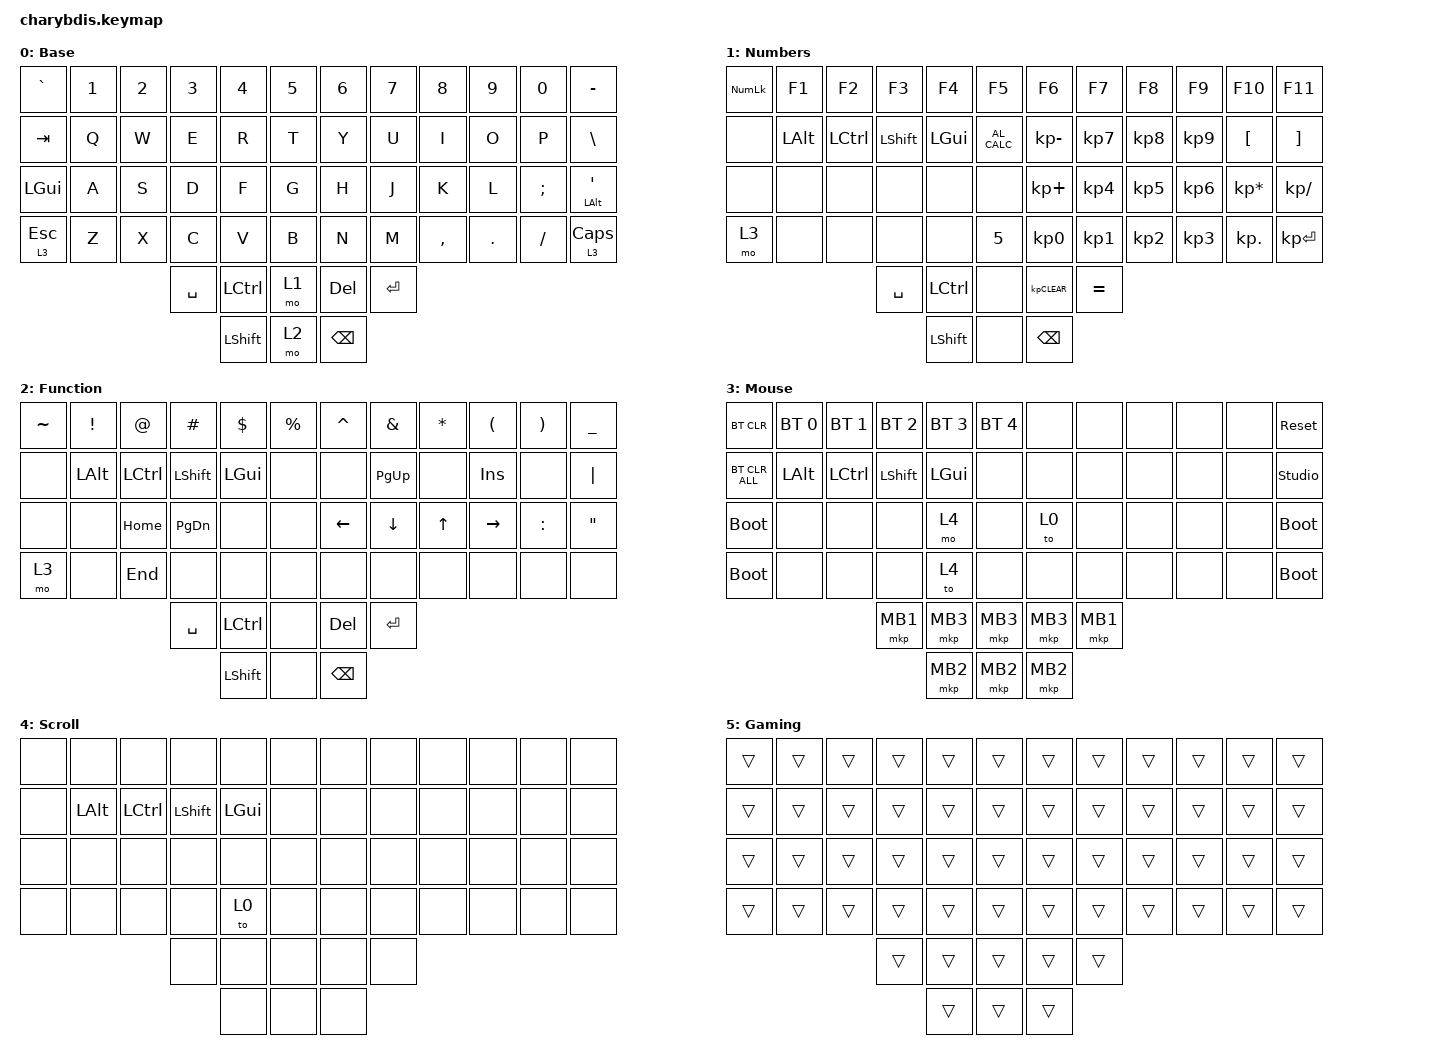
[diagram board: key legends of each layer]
/* upstream bindings and behaviors */

#include <dt-bindings/zmk/mouse.h>
#include <behaviors/mouse_keys.dtsi>
#include <behaviors.dtsi>
#include <dt-bindings/zmk/bt.h>
#include <dt-bindings/zmk/keys.h>
#include <dt-bindings/zmk/pointing.h>

/* local overlays */

#include "macros.dtsi"
#include "behaviors.dtsi"
#include "combos.dtsi"

/ {
    /* --- KEYMAP CONFIG --- */
    // ╭──────┬──────┬──────┬──────┬──────┬──────╮  ╭──────┬──────┬──────┬──────┬──────┬──────╮
    //    00     01     02     03    04      05        06     07     08     09     10     11
    // ├──────┼──────┼──────┼──────┼──────┼──────┤  ├──────┼──────┼──────┼──────┼──────┼──────┤
    //    12     13     14     15    16      17        18     19     20     21     22     23
    // ├──────┼──────┼──────┼──────┼──────┼──────┤  ├──────┼──────┼──────┼──────┼──────┼──────┤
    //    24     25     26     27    28      29        30     31     32     33     34     35
    // ├──────┼──────┼──────┼──────┼──────┼──────┤  ├──────┼──────┼──────┼──────┼──────┼──────┤
    //    36     37     38     39    40      41        42     43     44     45     46     47
    // ╰──────┴──────┴──────┼──────┼──────┼──────┤  ├──────┼──────┼──────┴──────┴──────┴──────╯
    //                         48     49     50        51     52
    //                      ╰──────┼──────┼──────┤  ├──────┼──────╯
    //                                53     54        55  
    //                             ╰──────┴──────╯  ╰──────╯
    // #define BASE    0
    // #define NUM     1
    // #define FUNC    2
    // #define MOUSE   3
    // #define SCROLL  4

    keymap {
        compatible = "zmk,keymap";

        BASE {
            display-name = "Base";
            bindings = <
&kp GRAVE     &kp N1  &kp N2  &kp N3     &kp N4            &kp N5    &kp N6         &kp N7     &kp N8     &kp N9   &kp N0         &kp MINUS
&kp TAB       &kp Q   &kp W   &kp E      &kp R             &kp T     &kp Y          &kp U      &kp I      &kp O    &kp P          &kp BACKSLASH
&kp LEFT_GUI  &kp A   &kp S   &kp D      &kp F             &kp G     &kp H          &kp J      &kp K      &kp L    &kp SEMICOLON  &mt LEFT_ALT SINGLE_QUOTE
&lt 3 ESCAPE  &kp Z   &kp X   &kp C      &kp V             &kp B     &kp N          &kp M      &kp COMMA  &kp DOT  &kp SLASH      &lt 3 CAPSLOCK
                              &kp SPACE  &kp LEFT_CONTROL  &mo 1     &kp DELETE     &kp ENTER
                                         &kp LEFT_SHIFT    &mo 2     &kp BACKSPACE
            >;
        };

        NUM {
            display-name = "Numbers";
            bindings = <
&kp KP_NUM  &kp F1    &kp F2     &kp F3      &kp F4            &kp F5           &kp F6           &kp F7     &kp F8     &kp F9     &kp F10           &kp F11
&none       &kp LALT  &kp LCTRL  &kp LSHIFT  &kp LGUI          &kp C_AL_CALC    &kp KP_SUBTRACT  &kp KP_N7  &kp KP_N8  &kp KP_N9  &kp LEFT_BRACKET  &kp RIGHT_BRACKET
&none       &none     &none      &none       &none             &none            &kp KP_PLUS      &kp KP_N4  &kp KP_N5  &kp KP_N6  &kp KP_MULTIPLY   &kp KP_DIVIDE
&mo 3       &none     &none      &none       &none             &kp N5           &kp KP_N0        &kp KP_N1  &kp KP_N2  &kp KP_N3  &kp KP_DOT        &kp KP_ENTER
                                 &kp SPACE   &kp LEFT_CONTROL  &none            &kp KP_CLEAR     &kp EQUAL
                                             &kp LEFT_SHIFT    &none            &kp BACKSPACE
            >;
        };

        FUNC {
            display-name = "Function";
            bindings = <
&kp TILDE  &kp EXCLAMATION  &kp AT     &kp HASH       &kp DLLR          &kp PERCENT    &kp CARET      &kp AMPS     &kp ASTRK  &kp LPAR    &kp RPAR   &kp UNDER
&none      &kp LALT         &kp LCTRL  &kp LSHIFT     &kp LGUI          &none          &none          &kp PAGE_UP  &none      &kp INSERT  &none      &kp PIPE
&none      &none            &kp HOME   &kp PAGE_DOWN  &none             &none          &kp LEFT       &kp DOWN     &kp UP     &kp RIGHT   &kp COLON  &kp DQT
&mo 3      &none            &kp END    &none          &none             &none          &none          &none        &none      &none       &none      &none
                                       &kp SPACE      &kp LEFT_CONTROL  &none          &kp DELETE     &kp ENTER
                                                      &kp LEFT_SHIFT    &none          &kp BACKSPACE
            >;
        };

        MOUSE {
            display-name = "Mouse";
            bindings = <
&bt BT_CLR      &bt BT_SEL 0  &bt BT_SEL 1  &bt BT_SEL 2  &bt BT_SEL 3  &bt BT_SEL 4    &none     &none     &none  &none  &none  &sys_reset
&bt BT_CLR_ALL  &kp LALT      &kp LCTRL     &kp LSHIFT    &kp LGUI      &none           &none     &none     &none  &none  &none  &studio_unlock
&bootloader     &none         &none         &none         &mo 4         &none           &to 0     &none     &none  &none  &none  &bootloader
&bootloader     &none         &none         &none         &to 4         &none           &none     &none     &none  &none  &none  &bootloader
                                            &mkp MB1      &mkp MB3      &mkp MB3        &mkp MB3  &mkp MB1
                                                          &mkp MB2      &mkp MB2        &mkp MB2
            >;
        };

        SCROLL {
            display-name = "Scroll";
            bindings = <
&none  &none     &none      &none       &none     &none    &none  &none  &none  &none  &none  &none
&none  &kp LALT  &kp LCTRL  &kp LSHIFT  &kp LGUI  &none    &none  &none  &none  &none  &none  &none
&none  &none     &none      &none       &none     &none    &none  &none  &none  &none  &none  &none
&none  &none     &none      &none       &to 0     &none    &none  &none  &none  &none  &none  &none
                            &none       &none     &none    &none  &none
                                        &none     &none    &none
            >;
        };

        Gaming {
            bindings = <
&trans  &trans  &trans  &trans  &trans  &trans    &trans  &trans  &trans  &trans  &trans  &trans
&trans  &trans  &trans  &trans  &trans  &trans    &trans  &trans  &trans  &trans  &trans  &trans
&trans  &trans  &trans  &trans  &trans  &trans    &trans  &trans  &trans  &trans  &trans  &trans
&trans  &trans  &trans  &trans  &trans  &trans    &trans  &trans  &trans  &trans  &trans  &trans
                        &trans  &trans  &trans    &trans  &trans
                                &trans  &trans    &trans
            >;
        };
    };
};
